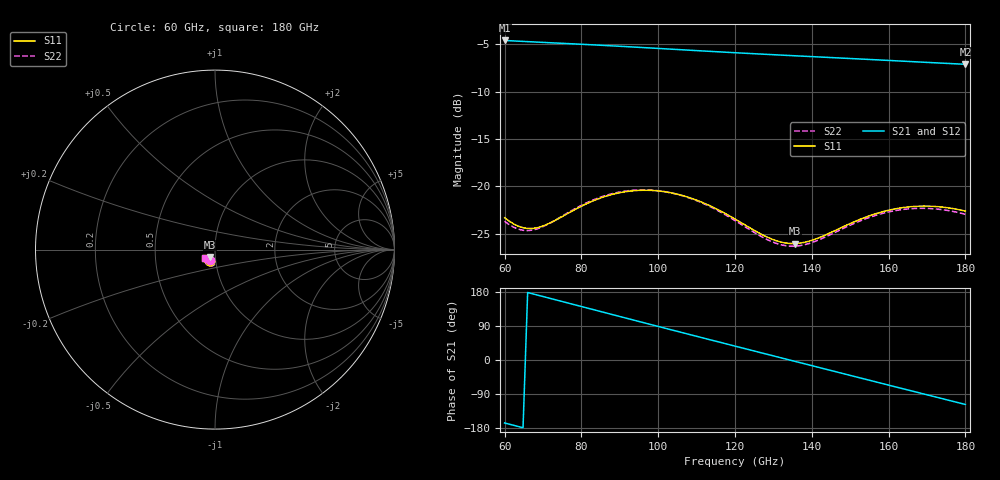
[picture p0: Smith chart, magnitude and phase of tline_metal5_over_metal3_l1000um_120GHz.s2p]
#  GHZ S DB R 50
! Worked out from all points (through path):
!   101 points, 60 GHz to 180 GHz, reference 50 ohm
!   highest |S21| = -4.58 dB at 60 GHz (marker M1); lowest = -7.1 dB at 180 GHz (marker M2)
!   group delay of S21, straight-line fit = 7.2 ps
!   lowest |S11| = -26.0 dB at 135.6 GHz (marker M3), VSWR 1.10, Z = 47 - j3.81 ohm
!   |S11| at or under -10 dB: start of sweep to end of sweep
!   |S22| runs from -26.3 to -20.4 dB; largest |S21 - S12| = 5.8e-14
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60  -23.31 -115.7  -4.58 -166.2  -4.58 -166.2  -23.69 -113.3
64.8  -24.37 -106.8  -4.68 -178.8  -4.68 -178.8  -24.64 -103.3
68.4  -24.37 -99.5  -4.75 171.7  -4.75 171.7  -24.50 -95.7
74.4  -23.32 -92.6  -4.87 155.9  -4.87 155.9  -23.28 -89.4
80.4  -22.02 -93.5  -4.99 140.1  -4.99 140.1  -21.92 -91.1
86.4  -21.04 -99.1  -5.11 124.3  -5.11 124.3  -20.95 -97.3
91.2  -20.58 -105.4  -5.22 111.6  -5.22 111.6  -20.51 -104.0
96  -20.41 -112.4  -5.33 99.1  -5.33 99.1  -20.36 -111.2
100.8  -20.51 -119.5  -5.44 86.5  -5.44 86.5  -20.50 -118.5
105.6  -20.89 -126.2  -5.55 74.0  -5.55 74.0  -20.91 -125.5
110.4  -21.52 -132.2  -5.66 61.5  -5.66 61.5  -21.57 -131.6
120  -23.45 -139.2  -5.87 36.7  -5.87 36.7  -23.61 -138.8
128.4  -25.36 -136.0  -6.05 15.0  -6.05 15.0  -25.62 -135.2
132  -25.89 -131.4  -6.12 5.7  -6.12 5.7  -26.17 -130.4
135.6  -26.04 -125.9  -6.20 -3.5  -6.20 -3.5  -26.32 -124.5
140.4  -25.65 -119.4  -6.29 -15.9  -6.29 -15.9  -25.88 -117.8
145.2  -24.83 -115.9  -6.39 -28.2  -6.39 -28.2  -25.02 -114.3
151.2  -23.71 -115.9  -6.51 -43.7  -6.51 -43.7  -23.88 -114.5
160.8  -22.45 -122.5  -6.70 -68.3  -6.70 -68.3  -22.63 -121.5
165.6  -22.15 -127.2  -6.80 -80.6  -6.80 -80.6  -22.36 -126.3
170.4  -22.09 -132.2  -6.90 -92.9  -6.90 -92.9  -22.33 -131.4
180  -22.61 -141.1  -7.10 -117.3  -7.10 -117.3  -22.95 -140.3
